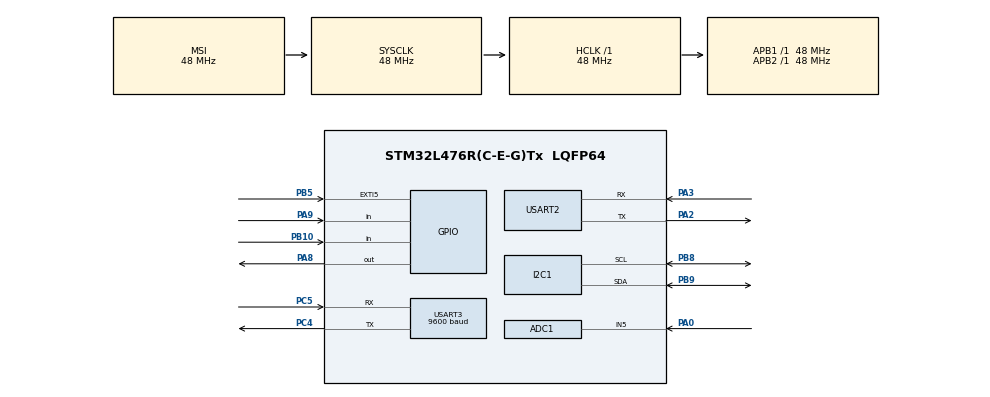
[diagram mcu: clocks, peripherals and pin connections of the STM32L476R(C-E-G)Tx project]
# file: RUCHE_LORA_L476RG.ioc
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ADC1.Channel-3\#ChannelRegularConversion=ADC_CHANNEL_5
ADC1.ExternalTrigConv=ADC_SOFTWARE_START
ADC1.NbrOfConversionFlag=1
ADC1.OffsetNumber-3\#ChannelRegularConversion=ADC_OFFSET_NONE
ADC1.Rank-3\#ChannelRegularConversion=1
ADC1.SamplingTime-3\#ChannelRegularConversion=ADC_SAMPLETIME_2CYCLES_5
ADC1.master=1
I2C1.Timing=0x10805D88
Mcu.Family=STM32L4
Mcu.Name=STM32L476R(C-E-G)Tx
Mcu.Package=LQFP64
NVIC.EXTI9_5_IRQn=true\:1\:0\:true\:false\:true\:true\:true\:true
NVIC.PriorityGroup=NVIC_PRIORITYGROUP_4
NVIC.USART3_IRQn=true\:14\:0\:true\:false\:true\:true\:true\:true
PA0.Signal=ADCx_IN5
PA13\ (JTMS-SWDIO).Mode=Serial_Wire
PA13\ (JTMS-SWDIO).Signal=SYS_JTMS-SWDIO
PA14\ (JTCK-SWCLK).Mode=Serial_Wire
PA14\ (JTCK-SWCLK).Signal=SYS_JTCK-SWCLK
PA2.Mode=Asynchronous
PA2.Signal=USART2_TX
PA3.Mode=Asynchronous
PA3.Signal=USART2_RX
PA8.Signal=GPIO_Output
PA9.Signal=GPIO_Input
PB10.Signal=GPIO_Input
PB5.GPIO_ModeDefaultEXTI=GPIO_MODE_IT_RISING
PB5.Signal=GPXTI5
PB8.GPIO_Pu=GPIO_PULLUP
PB8.Mode=I2C
PB8.Signal=I2C1_SCL
PB9.GPIO_Pu=GPIO_PULLUP
PB9.Mode=I2C
PB9.Signal=I2C1_SDA
PC14-OSC32_IN\ (PC14).Mode=LSE-External-Oscillator
PC14-OSC32_IN\ (PC14).Signal=RCC_OSC32_IN
PC15-OSC32_OUT\ (PC15).Mode=LSE-External-Oscillator
PC15-OSC32_OUT\ (PC15).Signal=RCC_OSC32_OUT
PC4.Mode=Asynchronous
PC4.Signal=USART3_TX
PC5.Mode=Asynchronous
PC5.Signal=USART3_RX
PH0-OSC_IN\ (PH0).Mode=HSE-External-Oscillator
PH0-OSC_IN\ (PH0).Signal=RCC_OSC_IN
PH1-OSC_OUT\ (PH1).Mode=HSE-External-Oscillator
PH1-OSC_OUT\ (PH1).Signal=RCC_OSC_OUT
ProjectManager.HeapSize=0x200
ProjectManager.StackSize=0x400
ProjectManager.TargetToolchain=STM32CubeIDE
RCC.ADCFreq_Value=192000000
RCC.AHBFreq_Value=48000000
RCC.APB1Freq_Value=48000000
RCC.APB1TimFreq_Value=48000000
RCC.APB2Freq_Value=48000000
RCC.APB2TimFreq_Value=48000000
RCC.CortexFreq_Value=48000000
RCC.HCLKFreq_Value=48000000
RCC.HSE_VALUE=8000000
RCC.HSI_VALUE=16000000
RCC.MSIClockRange=RCC_MSIRANGE_11
RCC.MSI_VALUE=48000000
RCC.SYSCLKFreq_VALUE=48000000
RCC.USBFreq_Value=192000000
RCC.VCOOutputFreq_Value=384000000
SH.ADCx_IN5.0=ADC1_IN5,IN5-Single-Ended
TIM16.Prescaler=47
USART2.VirtualMode-Asynchronous=VM_ASYNC
USART3.BaudRate=9600
USART3.VirtualMode-Asynchronous=VM_ASYNC
VP_TIM16_VS_ClockSourceINT.Mode=Enable_Timer
board=custom

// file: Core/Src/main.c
/* USER CODE BEGIN Header */
/**
  ******************************************************************************
  * @file           : main.c
  * @brief          : Main program body
  ******************************************************************************
  * @attention
  *
  * Copyright (c) 2026 STMicroelectronics.
  * All rights reserved.
  *
  * This software is licensed under terms that can be found in the LICENSE file
  * in the root directory of this software component.
  * If no LICENSE file comes with this software, it is provided AS-IS.
  *
  ******************************************************************************
  */
/* USER CODE END Header */
#include "main.h"
#include "adc.h"
#include "i2c.h"
#include "tim.h"
#include "usart.h"
#include "gpio.h"

/* USER CODE BEGIN Includes */
#include "lib_lcd.h"
#include "hx711.h"
#include"dht11.h"
#include "sht31.h"
#include "stdio.h"
#include "string.h"
#include"lora.h"

/* USER CODE END Includes */

/* USER CODE BEGIN PV */

uint8_t rx_buffer[256];
uint8_t rx_byte;
volatile uint8_t rx_index    = 0;
volatile uint8_t rx_complete = 0;
uint32_t adc_buf[256];
/////////////////////:::
uint8_t rxBuf[254];
char lcd_buf[256];
char PIR_buf[32];
rgb_lcd lcddata;
int32_t raw_value=0;

//Weight Sensor HX711
HX711_HandleTypeDef hx711;
// DHT11 — inside
uint8_t RH1, RH2, TC1, TC2, SUM, Check;
int temp_in = 0, hum_in = 0;
// PIR Motion Sensor
volatile uint8_t pir_detected = 0;
uint32_t pir_last_trigger = 0;

char uart_buf[254];

/* USER CODE END PV */

void SystemClock_Config(void);
/* USER CODE BEGIN PFP */
void HAL_GPIO_EXTI_Callback(uint16_t GPIO_Pin);
void AT_Send(const char* cmd, uint32_t timeout_ms);
void HAL_UART_RxCpltCallback(UART_HandleTypeDef *huart);
/* USER CODE END PFP */

int main(void)
{

  /* MCU Configuration--------------------------------------------------------*/

  /* Reset of all peripherals, Initializes the Flash interface and the Systick. */
  HAL_Init();

  /* Configure the system clock */
  SystemClock_Config();

  /* Initialize all configured peripherals */
  MX_GPIO_Init();
  MX_I2C1_Init();
  MX_USART2_UART_Init();
  MX_TIM16_Init();
  MX_USART3_UART_Init();
  MX_ADC1_Init();
  /* USER CODE BEGIN 2 */

  /**************** LCD init *************/
  lcd_init(&hi2c1, &lcddata);
  HAL_Delay(200);
 // HAL_UART_Transmit(&huart2, rx_buffer, strlen(rx_buffer), 1000);
  reglagecouleur(255, 255, 255); // red backlight
  HAL_Delay(200);
  HAL_ADCEx_Calibration_Start(&hadc1, ADC_SINGLE_ENDED);
  HAL_Delay(10);

  /**************** LORA Init ***********/
  	lcd_position(&hi2c1, 0, 0);
    lcd_print(&hi2c1, "LoRaWAN init");
    lcd_position(&hi2c1, 0, 1);
    lcd_print(&hi2c1, "Lora Join network...");
    loraWAN_init(); //configurer le module lora en mode OTAA
   /* LoRa_P2P_Init(&huart3);
    while(1)
    {

    	LoRa_send_data("Hello");
    	//HAL_Delay(1000);
    }
    */

  /*while(1)
  {
	  loraWAN_send_data("Hola\n\r");
	  HAL_Delay(100);
  }*/
  HAL_Delay(100);
/*
  //LoRa_identifier("AT+VER\r\n"); // Version de LORA E5
  LoRa_identifier("AT+RESET\r\n"); // Reset le module LORA E5
  LoRa_identifier("AT+ID\r\n");
  HAL_Delay(2000);
  //LoRa_emetteur();// configurer le module en émetteur
  HAL_Delay(200);
*/

  lcd_position(&hi2c1, 0, 0);
  lcd_print(&hi2c1, "HX711 Test");
  lcd_position(&hi2c1, 0, 1);
  lcd_print(&hi2c1, "Initializing...");

  lcd_position(&hi2c1, 0, 0);
  lcd_print(&hi2c1, "  Poids / Weight");
  lcd_position(&hi2c1, 0, 1);
  lcd_print(&hi2c1, "  No motion     ");
  HAL_Delay(1000);

  // HX711 init
  HAL_TIM_Base_Start(&htim16);
  hx711.dt_port  = GPIOA;
  hx711.dt_pin   = GPIO_PIN_9;   // PA9 = D8 = DOUT
  hx711.sck_port = GPIOA;
  hx711.sck_pin  = GPIO_PIN_8;  // PA8 = D7 = SCK
  HX711_Init(&hx711);

  // Tare with nothing on scale
  lcd_position(&hi2c1, 0, 1);
  lcd_print(&hi2c1, "Taring...       ");
  //printf("Taring...\r\n");

  long tare_sum = 0;

  for(int i = 0; i < 10; i++)
  {
      tare_sum += HX711_ReadRaw(&hx711);
      HAL_Delay(100);
  }

  hx711.offset = tare_sum / 10;
  //printf("Tare offset: %ld\r\n", hx711.offset);

  lcd_position(&hi2c1, 0, 1);
  lcd_print(&hi2c1, "Ready!          ");
  HAL_Delay(1000);
  clearlcd();

  //Activation du capteur SHT31
  float temperature, humidite;
  sht31_request(&hi2c1);
  HAL_Delay(100);
  int int_voltage=0;

  /* USER CODE END 2 */

  /* Infinite loop */
  while (1)
  {

    /* USER CODE BEGIN 3 */
/*************** Lecture de la tension de la batterie ****************/
	  HAL_ADC_Start(&hadc1);
	  if (HAL_ADC_PollForConversion(&hadc1, 10) == HAL_OK) {
	  	      uint32_t val = HAL_ADC_GetValue(&hadc1);
	  	      float voltage = (val / 4095.0f) * 3.3f;
	  	      int_voltage = (int)(voltage * 100);
	  	      snprintf(lcd_buf, sizeof(lcd_buf), "Tension:%d.%02d V", int_voltage/100, int_voltage%100);
	  	      //clearlcd();
	  	      lcd_position(&hi2c1, 0, 0);
	  	      lcd_print(&hi2c1, lcd_buf);
	  	      HAL_Delay(1000);
	  	  }
	  	  HAL_ADC_Stop(&hadc1);

/******************* Lecture de la masse  *******************************/
	    float weight_g =HX711_GetWeight(&hx711);
	    float weight_kg = weight_g / 1000.0f;
	    int kg_int = (int)weight_kg;
	    int kg_dec = (int)((weight_kg - kg_int) * 1000);
	    if(kg_dec < 0) kg_dec = -kg_dec;
	    snprintf(lcd_buf, sizeof(lcd_buf), "P:%d.%03d kg", kg_int, kg_dec);
	    //LoRa_send_data(lcd_buf);
	    //loraWAN_send_data(lcd_buf);
	    clearlcd();
	    lcd_position(&hi2c1, 0, 0);
	    lcd_print(&hi2c1, lcd_buf);
	    HAL_Delay(2000);

/********************* Affichage de mouvement détecté *****************/
	    if(pir_detected)
	    {
	       lcd_position(&hi2c1, 0, 1);
	       lcd_print(&hi2c1, "Motion detect!");
	        //snprintf(PIR_buf, sizeof(PIR_buf), "  Motion detect  ");
	        //LoRa_send_data(lcd_buf);
	        //loraWAN_send_data(lcd_buf);
	       HAL_Delay(1000);
	    }
	   /* else
	    {
	        lcd_print(&hi2c1, "No motion");
	        pir_detected=0;
	        //snprintf(PIR_buf, sizeof(PIR_buf), "  No Motion  ");
	       // LoRa_send_data(lcd_buf);
	        //loraWAN_send_data(lcd_buf);
	         HAL_Delay(1000);
	    }*/

/***************** Lecture de la température et de l'humidite extérieur de la ruche  avec le SHT31 ************************/
	    sht31_read(&hi2c1,&temperature, &humidite);

	    //affichage de la température et de l'humidite
	    lcd_affichage(&hi2c1, temperature, humidite);

/*************** Lecture de la température intérieur avec le DHT11 *******************/
	   int T =temperature *100;//pour l'affichage
	   int H=humidite*100;//pour l'affichage
	   // Always read DHT11 (inside)
	        if(DHT11_Init())
	        {
	            RH1 = DHT11_Read();
	            RH2 = DHT11_Read();
	            TC1 = DHT11_Read();
	            TC2 = DHT11_Read();
	            SUM = DHT11_Read();
	            Check = RH1 + RH2 + TC1 + TC2;

	            if(Check == SUM)
	            {
	                if(TC1 > 127)
	                    temp_in = -(int)TC2;
	                else
	                    temp_in = (int)TC1;

	                hum_in = (int)RH1;
	            }
	        }
	   // lcd_affichage(&hi2c1, temp_in, hum_in);

		    snprintf(lcd_buf, sizeof(lcd_buf), "Temp_in:%d%cC", temp_in,0xDF);
		    //LoRa_send_data(lcd_buf);
		    //loraWAN_send_data(lcd_buf);
		    clearlcd();
		    lcd_position(&hi2c1, 0, 0);
		    lcd_print(&hi2c1, lcd_buf);
		    snprintf(lcd_buf, sizeof(lcd_buf), "Humid_in:%d%%", hum_in);
		    lcd_position(&hi2c1, 0, 1);
		    lcd_print(&hi2c1, lcd_buf);
		    HAL_Delay(2000);

/************* Transmission des données par LoRaWAN   ************************/
	   snprintf(lcd_buf, sizeof(lcd_buf),"P:%d.%03d  Tout:%d.%2d Hout:%d.%2d Tin:%d Hin:%d %d ", kg_int, kg_dec,(T/100),(T%100),(H/100),(H%100),temp_in, hum_in, pir_detected);
	   loraWAN_send_data(lcd_buf);
	   HAL_Delay(5000);
	   snprintf(lcd_buf, sizeof(lcd_buf),"Vin:%d.%2d V",int_voltage/100,int_voltage%100);
	   loraWAN_send_data(lcd_buf);
	   HAL_Delay(5000);
	   clearlcd();
	   lcd_position(&hi2c1, 0, 0);
	   lcd_print(&hi2c1, "DATA SENT");

	   HAL_Delay(500);

  }

  /* USER CODE END 3 */
}

void SystemClock_Config(void)
{
  RCC_OscInitTypeDef RCC_OscInitStruct = {0};
  RCC_ClkInitTypeDef RCC_ClkInitStruct = {0};

  /** Configure the main internal regulator output voltage
  */
  if (HAL_PWREx_ControlVoltageScaling(PWR_REGULATOR_VOLTAGE_SCALE1) != HAL_OK)
  {
    Error_Handler();
  }

  /** Configure LSE Drive Capability
  */
  HAL_PWR_EnableBkUpAccess();
  __HAL_RCC_LSEDRIVE_CONFIG(RCC_LSEDRIVE_LOW);

  /** Initializes the RCC Oscillators according to the specified parameters
  * in the RCC_OscInitTypeDef structure.
  */
  RCC_OscInitStruct.OscillatorType = RCC_OSCILLATORTYPE_LSE|RCC_OSCILLATORTYPE_MSI;
  RCC_OscInitStruct.LSEState = RCC_LSE_ON;
  RCC_OscInitStruct.MSIState = RCC_MSI_ON;
  RCC_OscInitStruct.MSICalibrationValue = 0;
  RCC_OscInitStruct.MSIClockRange = RCC_MSIRANGE_11;
  RCC_OscInitStruct.PLL.PLLState = RCC_PLL_NONE;
  if (HAL_RCC_OscConfig(&RCC_OscInitStruct) != HAL_OK)
  {
    Error_Handler();
  }

  /** Initializes the CPU, AHB and APB buses clocks
  */
  RCC_ClkInitStruct.ClockType = RCC_CLOCKTYPE_HCLK|RCC_CLOCKTYPE_SYSCLK
                              |RCC_CLOCKTYPE_PCLK1|RCC_CLOCKTYPE_PCLK2;
  RCC_ClkInitStruct.SYSCLKSource = RCC_SYSCLKSOURCE_MSI;
  RCC_ClkInitStruct.AHBCLKDivider = RCC_SYSCLK_DIV1;
  RCC_ClkInitStruct.APB1CLKDivider = RCC_HCLK_DIV1;
  RCC_ClkInitStruct.APB2CLKDivider = RCC_HCLK_DIV1;

  if (HAL_RCC_ClockConfig(&RCC_ClkInitStruct, FLASH_LATENCY_2) != HAL_OK)
  {
    Error_Handler();
  }

  /** Enable MSI Auto calibration
  */
  HAL_RCCEx_EnableMSIPLLMode();
}

/* USER CODE BEGIN 4 */
void HAL_GPIO_EXTI_Callback(uint16_t GPIO_Pin)
{
    if(GPIO_Pin == GPIO_PIN_5)
    {
    	// Read actual pin state
        if(HAL_GPIO_ReadPin(GPIOB, GPIO_PIN_5) == GPIO_PIN_SET)
        {
            pir_detected = 1;
            //lcd_print(&hi2c1, "Motion detect!");
            //pir_last_trigger = HAL_GetTick();
        }
        else
        {
        	pir_detected = 0;
        	//lcd_print(&hi2c1, " No Motion!");
        	//pir_last_trigger = HAL_GetTick();
        }
    }
}
/**
 * Envoie une commande AT au Wio-E5 via USART3
 * et attend la réponse (timeout 5 secondes)
 */

void AT_Send(const char* cmd, uint32_t timeout_ms)
{
    // Vider le buffer de réception
    memset(rx_buffer, 0, sizeof(rx_buffer));
    rx_index    = 0;
    rx_complete = 0;

    // Envoyer la commande
    HAL_UART_Transmit(&huart2, (uint8_t*)cmd, strlen(cmd), 1000);
    HAL_UART_Transmit(&huart3, (uint8_t*)cmd, strlen(cmd), 2000);

    // Lancer la réception en interruption (octet par octet)
   /* HAL_UART_Receive(&huart3, rx_buffer, sizeof(rx_buffer), 2000);
    HAL_Delay(200);
    HAL_UART_Transmit(&huart2, rx_buffer, strlen((char*)rx_buffer), 2000);
    */
    HAL_UART_Receive_IT(&huart3, &rx_byte, 1);

    // Attendre la réponse ou le timeout
    uint32_t start = HAL_GetTick();
    while (!rx_complete && (HAL_GetTick() - start) < timeout_ms);
    HAL_UART_Transmit(&huart2, rx_buffer, sizeof(rx_buffer), 1000);
}

/**
 * Callback UART — appelé automatiquement à chaque octet reçu
 */

void HAL_UART_RxCpltCallback(UART_HandleTypeDef *huart)
{
    if (huart->Instance == USART3)
    {
        rx_buffer[rx_index++] = rx_byte;

        // Fin de réponse détectée sur '\n' ou buffer plein
        if (rx_byte == '\n' || rx_index >= 255)
        {
            rx_complete = 1;
        }
        else
        {
            // Continuer à recevoir
            HAL_UART_Receive_IT(&huart3, &rx_byte, 1);
        }
    }
}

/* USER CODE END 4 */

void Error_Handler(void)
{
  __disable_irq();
  while (1)
  {
  }
}
